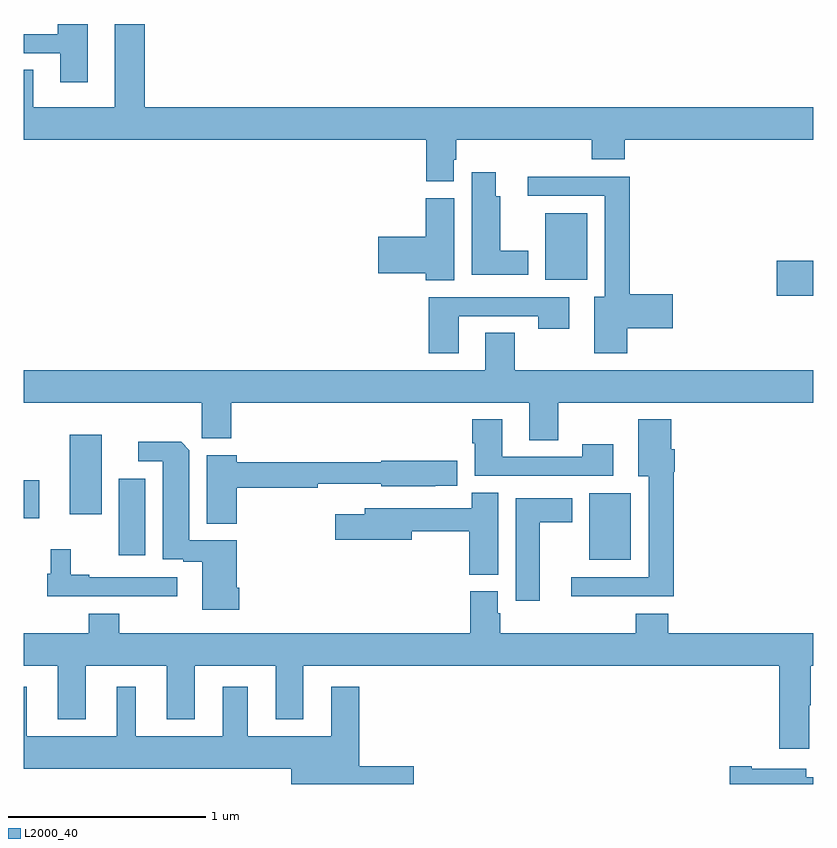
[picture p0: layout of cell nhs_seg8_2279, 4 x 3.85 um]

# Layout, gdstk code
import gdstk
lib = gdstk.Library(unit=1e-6, precision=1e-09)
def R(c, l, rs):  # rectangles x0, y0, x1, y1
    for r in rs: c.add(gdstk.rectangle(r[:2], r[2:], *l))
def P(c, l, *ps):  # polygons
    for p in ps: c.add(gdstk.Polygon(p, *l))
L2000_40 = (2000, 40)

nhs_seg8_2279 = lib.new_cell('nhs_seg8_2279')
R(nhs_seg8_2279, L2000_40, [(257.864,1117.037,258.076,1117.372), (255.482,1117.058,255.616,1117.447), (255,1117.247,255.079,1117.438), (255.233,1117.266,255.394,1117.669), (258.816,1118.374,259,1118.552), (257.642,1118.456,257.854,1118.791)])
P(nhs_seg8_2279, L2000_40, [(257.179,1119.063),(257.192,1119.063),(257.192,1119.164),(257.879,1119.164),(257.879,1119.065),(258.044,1119.065),(258.044,1119.164),(259,1119.164),(259,1119.328),(255.614,1119.328),(255.614,1119.751),(255.461,1119.751),(255.461,1119.328),(255.049,1119.328),(255.049,1119.518),(255,1119.518),(255,1119.164),(257.039,1119.164),(257.039,1118.953),(257.179,1118.953)],
  [(255.325,1119.751),(255.173,1119.751),(255.173,1119.699),(255,1119.699),(255,1119.603),(255.185,1119.603),(255.185,1119.456),(255.325,1119.456)],
  [(257.557,1118.602),(257.413,1118.602),(257.413,1118.877),(257.392,1118.877),(257.392,1119.001),(257.27,1119.001),(257.27,1118.48),(257.557,1118.48)],
  [(258.058,1118.21),(258.289,1118.21),(258.289,1118.381),(258.071,1118.381),(258.071,1118.978),(257.553,1118.978),(257.553,1118.88),(257.945,1118.88),(257.945,1118.368),(257.891,1118.368),(257.891,1118.082),(258.058,1118.082)],
  [(257.182,1118.868),(257.036,1118.868),(257.036,1118.672),(256.797,1118.672),(256.797,1118.489),(257.036,1118.489),(257.036,1118.452),(257.182,1118.452)],
  [(257.203,1118.271),(257.608,1118.271),(257.608,1118.208),(257.764,1118.208),(257.764,1118.367),(257.051,1118.367),(257.051,1118.082),(257.203,1118.082)],
  [(257.709,1117.832),(259,1117.832),(259,1117.996),(257.487,1117.996),(257.487,1118.186),(257.339,1118.186),(257.339,1117.996),(255,1117.996),(255,1117.832),(255.901,1117.832),(255.901,1117.651),(256.052,1117.651),(256.052,1117.832),(257.561,1117.832),(257.561,1117.642),(257.709,1117.642)],
  [(257.986,1117.621),(257.83,1117.621),(257.83,1117.557),(257.425,1117.557),(257.425,1117.747),(257.273,1117.747),(257.273,1117.627),(257.285,1117.627),(257.285,1117.461),(257.986,1117.461)],
  [(258.293,1117.482),(258.298,1117.482),(258.298,1117.596),(258.28,1117.596),(258.28,1117.747),(258.113,1117.747),(258.113,1117.46),(258.167,1117.46),(258.167,1116.948),(257.775,1116.948),(257.775,1116.851),(258.293,1116.851)],
  [(256.091,1116.895),(256.078,1116.895),(256.078,1117.134),(255.838,1117.134),(255.838,1117.592),(255.797,1117.634),(255.579,1117.634),(255.579,1117.536),(255.704,1117.536),(255.704,1117.038),(255.809,1117.038),(255.809,1117.026),(255.905,1117.026),(255.905,1116.783),(256.091,1116.783)],
  [(256.079,1117.402),(256.49,1117.402),(256.49,1117.422),(256.812,1117.422),(256.812,1117.409),(257.084,1117.409),(257.084,1117.412),(257.196,1117.412),(257.196,1117.539),(256.812,1117.539),(256.812,1117.531),(256.079,1117.531),(256.079,1117.566),(255.926,1117.566),(255.926,1117.219),(256.079,1117.219)],
  [(257.404,1117.376),(257.269,1117.376),(257.269,1117.296),(256.727,1117.296),(256.727,1117.267),(256.578,1117.267),(256.578,1117.138),(256.966,1117.138),(256.966,1117.18),(257.258,1117.18),(257.258,1116.961),(257.404,1116.961)],
  [(257.614,1117.226),(257.779,1117.226),(257.779,1117.348),(257.492,1117.348),(257.492,1116.828),(257.614,1116.828)],
  [(255.778,1116.948),(255.331,1116.948),(255.331,1116.961),(255.237,1116.961),(255.237,1117.09),(255.137,1117.09),(255.137,1116.966),(255.118,1116.966),(255.118,1116.852),(255.778,1116.852)],
  [(258.979,1116.298),(258.987,1116.298),(258.987,1116.5),(259,1116.5),(259,1116.664),(258.266,1116.664),(258.266,1116.763),(258.101,1116.763),(258.101,1116.664),(257.414,1116.664),(257.414,1116.765),(257.401,1116.765),(257.401,1116.876),(257.261,1116.876),(257.261,1116.664),(255.483,1116.664),(255.483,1116.763),(255.328,1116.763),(255.328,1116.664),(255,1116.664),(255,1116.5),(255.173,1116.5),(255.173,1116.227),(255.313,1116.227),(255.313,1116.5),(255.725,1116.5),(255.725,1116.227),(255.865,1116.227),(255.865,1116.5),(256.277,1116.5),(256.277,1116.227),(256.417,1116.227),(256.417,1116.5),(258.827,1116.5),(258.827,1116.078),(258.979,1116.078)],
  [(256.975,1115.99),(256.7,1115.99),(256.7,1116.394),(256.559,1116.394),(256.559,1116.142),(256.135,1116.142),(256.135,1116.394),(256.007,1116.394),(256.007,1116.142),(255.568,1116.142),(255.568,1116.394),(255.47,1116.394),(255.47,1116.142),(255.016,1116.142),(255.016,1116.394),(255,1116.394),(255,1115.978),(256.355,1115.978),(256.355,1115.9),(256.975,1115.9)],
  [(259,1115.935),(258.964,1115.935),(258.964,1115.977),(258.688,1115.977),(258.688,1115.99),(258.576,1115.99),(258.576,1115.9),(259,1115.9)])

lib.write_gds('nhs_seg8_2279.gds')
